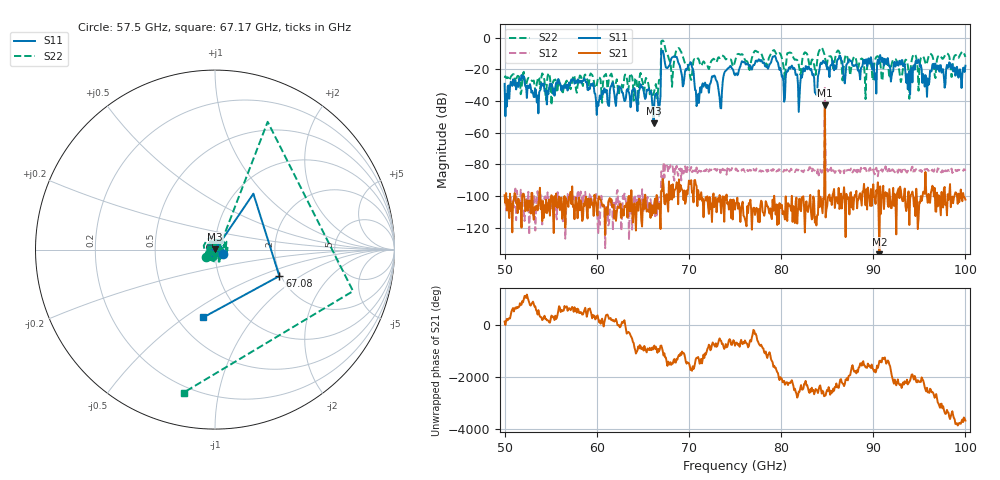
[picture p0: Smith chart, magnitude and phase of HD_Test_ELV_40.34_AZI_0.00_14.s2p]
! 11/25/2026 9:15:33 AM
! C:\ANRITSUVNA\TEMP\TEMP.S2P
! CHANNEL.1
! TR.MEASUREMENT
! RAW.DATA
# HZ S RI R 50.0
! FREQ.HZ  S11RE  S11IM  S21RE  S21IM  S12RE  S12IM  S22RE  S22IM
!; PortSelection: Port_12
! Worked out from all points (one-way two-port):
!   601 points, 50 GHz to 100 GHz, reference 50 ohm
!   highest |S21| = -42.71 dB at 84.75 GHz (marker M1); lowest = -137.0 dB at 90.67 GHz (marker M2)
!   lowest |S11| = -54.2 dB at 66.17 GHz (marker M3), VSWR 1.00, Z = 50.1 + j0.154 ohm
!   |S11| at or under -10 dB: start of sweep to 67 GHz; 67.24 GHz to end of sweep
!   |S22| runs from -42.7 to -1.8 dB; largest |S21 - S12| = 0.036
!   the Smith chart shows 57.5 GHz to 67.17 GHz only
!   S11 on the Smith chart (normalised r, x): 57.5 GHz: 1.09, -0.05; 67.08 GHz: 1.96, -0.68; 67.17 GHz: 0.67, -0.59
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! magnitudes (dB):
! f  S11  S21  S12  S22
! 50 GHz  -29.2  -99.6  -101.5  -25.3
! 57.5 GHz  -26.3  -106.1  -100.3  -23.7
! 58.42 GHz  -27.2  -115.9  -105.3  -29.0
! 60.17 GHz  -43.1  -101.7  -123.5  -24.8
! 61.67 GHz  -28.7  -107.2  -103.0  -24.5
! 66.17 GHz  -54.2  -110.9  -105.3  -35.4
! 66.67 GHz  -41.9  -108.2  -101.5  -32.1
! 67.08 GHz  -8.2  -97.1  -84.9  -1.9
! 67.17 GHz  -8.3  -89.3  -95.6  -1.8
! 70.17 GHz  -15.5  -92.4  -83.2  -25.7
! 70.92 GHz  -40.7  -106.5  -85.6  -13.3
! 75 GHz  -23.7  -108.6  -83.8  -15.0
! 79.25 GHz  -11.8  -99.9  -82.8  -7.9
! 80.25 GHz  -27.6  -109.8  -84.7  -17.7
! 83.42 GHz  -23.8  -113.9  -82.8  -13.8
! 84.75 GHz  -16.0  -42.7  -30.8  -11.2
! 90.67 GHz  -13.8  -137.0  -82.8  -13.6
! 91.67 GHz  -16.7  -107.0  -83.0  -20.5
! 93.75 GHz  -32.6  -101.6  -84.0  -17.3
! 94.83 GHz  -15.0  -121.0  -83.4  -20.3
! 95.83 GHz  -37.4  -100.6  -82.9  -15.9
! 100 GHz  -17.7  -102.4  -84.0  -12.2
